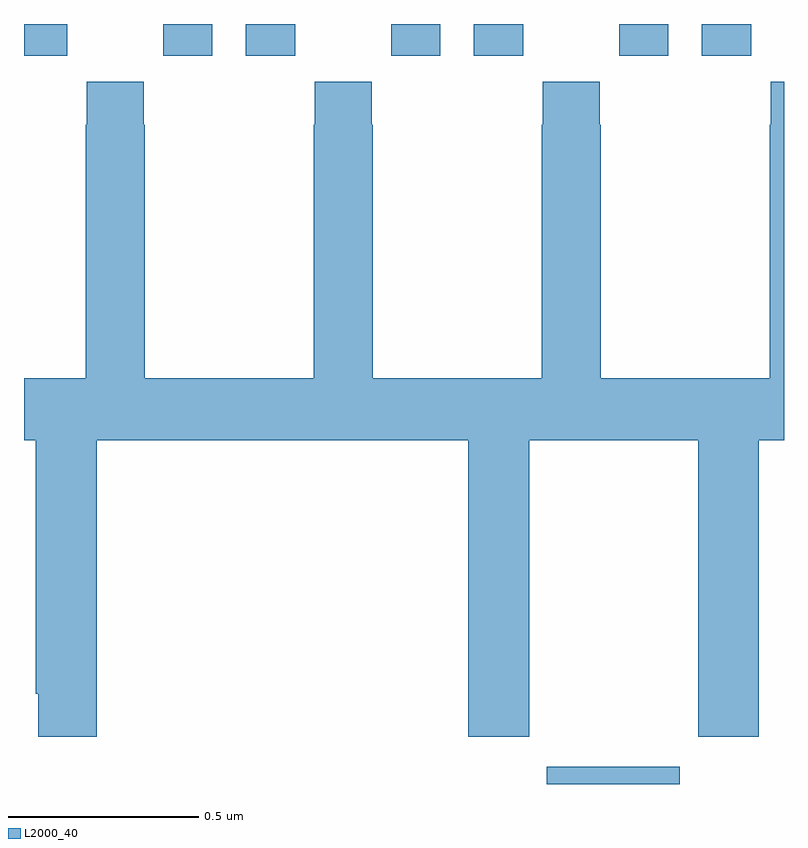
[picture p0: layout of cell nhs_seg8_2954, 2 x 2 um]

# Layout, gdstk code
import gdstk
lib = gdstk.Library(unit=1e-6, precision=1e-09)
def R(c, l, rs):  # rectangles x0, y0, x1, y1
    for r in rs: c.add(gdstk.rectangle(r[:2], r[2:], *l))
def P(c, l, *ps):  # polygons
    for p in ps: c.add(gdstk.Polygon(p, *l))
L2000_40 = (2000, 40)

nhs_seg8_2954 = lib.new_cell('nhs_seg8_2954')
R(nhs_seg8_2954, L2000_40, [(151.376,1144.9,151.726,1144.945), (150,1146.816,150.114,1146.9), (150.366,1146.816,150.496,1146.9), (150.584,1146.816,150.714,1146.9), (150.966,1146.816,151.096,1146.9), (151.184,1146.816,151.314,1146.9), (151.566,1146.816,151.696,1146.9), (151.784,1146.816,151.914,1146.9)])
P(nhs_seg8_2954, L2000_40, [(150.191,1145.804),(151.169,1145.804),(151.169,1145.025),(151.329,1145.025),(151.329,1145.804),(151.774,1145.804),(151.774,1145.025),(151.934,1145.025),(151.934,1145.804),(152,1145.804),(152,1146.748),(151.965,1146.748),(151.965,1146.635),(151.963,1146.635),(151.963,1145.968),(151.518,1145.968),(151.518,1146.635),(151.515,1146.635),(151.515,1146.748),(151.365,1146.748),(151.365,1146.635),(151.363,1146.635),(151.363,1145.968),(150.918,1145.968),(150.918,1146.635),(150.915,1146.635),(150.915,1146.748),(150.765,1146.748),(150.765,1146.635),(150.763,1146.635),(150.763,1145.968),(150.318,1145.968),(150.318,1146.635),(150.315,1146.635),(150.315,1146.748),(150.165,1146.748),(150.165,1146.635),(150.163,1146.635),(150.163,1145.968),(150,1145.968),(150,1145.804),(150.031,1145.804),(150.031,1145.137),(150.037,1145.137),(150.037,1145.025),(150.191,1145.025)])

lib.write_gds('nhs_seg8_2954.gds')
